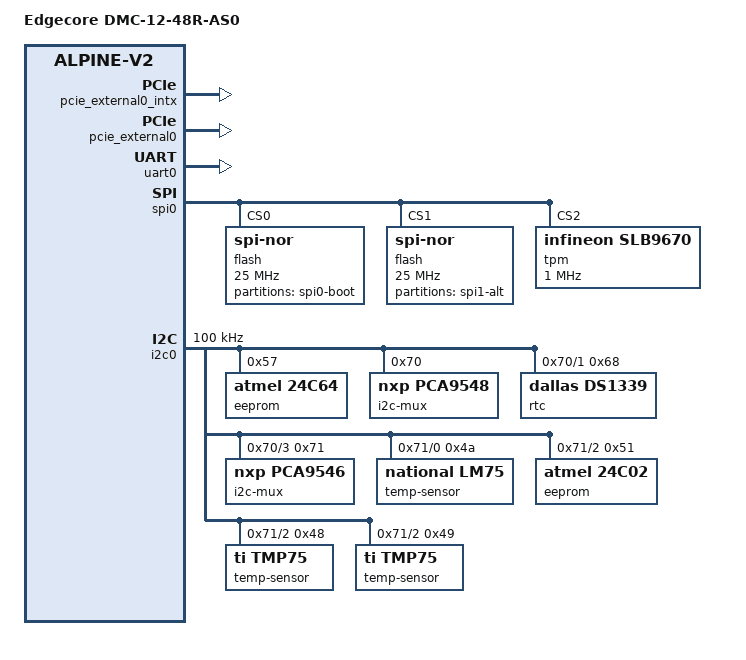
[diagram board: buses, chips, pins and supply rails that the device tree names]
// SPDX-License-Identifier: GPL-2.0
/*
 * Edgecore (Accton) DMC-12-48R-AS0: 48-port serial console server,
 * Annapurna Labs Alpine V2 K2C-AB (4x Cortex-A57).
 *
 * Starts from the first iteration (codeberg dma/dmc12-nixos 5d02d1b). Additions are
 * from the factory kernel's live DT and disassembly (unit u01, 2026-11-15;
 * see ai_re/devices/dmc-12-48r-as0/vendor-tooling.md):
 *   - sbclk is 500 MHz (mainline dtsi: 1 MHz placeholder). It feeds I2C, SPI,
 *     GPIO and the sp805; a wrong rate breaks SPI dividers and I2C timing.
 *   - The firmware's PSCI is v0.1 (cpu_on/cpu_off only, no SYSTEM_RESET).
 *   - PL061 GPIO 0..5, the sp805 watchdog (mainline restart handler), and
 *     the SPI NOR pair (CS0 booted, CS1 second image), read-only to Linux.
 *   - i2c aliases pin bus numbers to the factory kernel's (CPLD = i2c-4,
 *     sensors/EEPROM/INA219 = i2c-7, uplink PHY = i2c-8) so tools agree.
 */
/dts-v1/;

#include "alpine-v2.dtsi"

/ {
	model = "Edgecore DMC-12-48R-AS0";
	compatible = "edgecore,dmc-12-48r-as0", "al,alpine-v2";

	aliases {
		serial0 = &uart0;
		serial1 = &uart1;
		serial2 = &uart2;
		serial3 = &uart3;
		i2c0 = &i2c0;
		i2c1 = &mux70_0;
		i2c2 = &mux70_1;
		i2c3 = &mux70_2;
		i2c4 = &mux70_3;
		i2c5 = &mux71_0;
		i2c6 = &mux71_1;
		i2c7 = &mux71_2;
		i2c8 = &mux71_3;
		i2c9 = &mux70_4;
		i2c10 = &mux70_5;
		i2c11 = &mux70_6;
		i2c12 = &mux70_7;
	};

	chosen {
		stdout-path = "serial0:115200n8";
	};
};

&sbclk {
	clock-frequency = <500000000>;
};

/* Vendor firmware: PSCI v0.1 function IDs only. */
&{/psci} {
	compatible = "arm,psci";
	/delete-property/ cpu_suspend;
};

&uart0 { status = "okay"; };

&msix {
	interrupt-controller;
	#interrupt-cells = <1>;
};

/ {
	/*
	 * External PCIe port 0's app interrupt group A (x8 port = HAL rev 3: app regs at +0x2000,
	 * int_grp_a at +0x1000). INTx assert messages set cause bits 7..4 (INTA..INTD); the group
	 * raises GIC SPI 47 (as in the factory DT). Without it INTx never reached the CPU: USB ran
	 * on EHCI's 100 ms watchdog and sustained serial input overran the CP2108s.
	 * The Pericom functions can't do MSI (kernel quirk: not implemented).
	 */
	pcie_external0_intx: interrupt-controller@fd803000 {
		compatible = "amazon,al-fic";
		reg = <0x0 0xfd803000 0x0 0x40>;
		interrupt-controller;
		#interrupt-cells = <2>;
		#address-cells = <0>;
		interrupts = <GIC_SPI 47 IRQ_TYPE_LEVEL_HIGH>;
	};

	/* External PCIe port 0: Pericom 12d8:400c bridge -> OHCI/EHCI -> USB hubs -> 12x CP2108. */
	pcie_external0: pcie@fb600000 {
		compatible = "amazon,al-alpine-v2-pcie";
		device_type = "pci";
		#size-cells = <2>;
		#address-cells = <3>;
		#interrupt-cells = <1>;
		reg = <0x0 0xfb600000 0x0 0x00100000
		       0x0 0xfd800000 0x0 0x00010000
		       0x0 0xfd810000 0x0 0x00001000>;
		reg-names = "config", "controller", "dbi";
		bus-range = <0x00 0xff>;
		interrupts = <GIC_SPI 49 IRQ_TYPE_LEVEL_HIGH>;
		interrupt-map-mask = <0x00 0 0 7>;
		/* INTx are assert/deassert messages: rising edge of the assert cause bit. */
		interrupt-map = <0x0000 0 0 1 &pcie_external0_intx 7 IRQ_TYPE_EDGE_RISING>,
				<0x0000 0 0 2 &pcie_external0_intx 6 IRQ_TYPE_EDGE_RISING>,
				<0x0000 0 0 3 &pcie_external0_intx 5 IRQ_TYPE_EDGE_RISING>,
				<0x0000 0 0 4 &pcie_external0_intx 4 IRQ_TYPE_EDGE_RISING>;
		ranges = <0x02000000 0x0 0xc0010000 0x0 0xc0010000 0x0 0x07ff0000>;
		msi-parent = <&msix>;
	};
};

&{/soc/io-bus@fc000000} {
	/* Boot flash pair. Read-only to Linux: back up with dd, never write here. */
	spi0: spi@1882000 {
		compatible = "amazon,alpine-dw-apb-ssi", "snps,dw-apb-ssi";
		reg = <0x1882000 0x1000>;
		interrupts = <GIC_SPI 23 IRQ_TYPE_LEVEL_HIGH>;
		clocks = <&sbclk>;
		num-cs = <4>;
		#address-cells = <1>;
		#size-cells = <0>;

		flash@0 {
			compatible = "jedec,spi-nor";
			reg = <0>;
			spi-max-frequency = <25000000>;

			partitions {
				compatible = "fixed-partitions";
				#address-cells = <1>;
				#size-cells = <1>;
				partition@0 {
					label = "spi0-boot";
					reg = <0x0 0x1000000>;
					read-only;
				};
			};
		};

		flash@1 {
			compatible = "jedec,spi-nor";
			reg = <1>;
			spi-max-frequency = <25000000>;

			partitions {
				compatible = "fixed-partitions";
				#address-cells = <1>;
				#size-cells = <1>;
				partition@0 {
					label = "spi1-alt";
					reg = <0x0 0x1000000>;
					read-only;
				};
			};
		};

		/*
		 * The board's TPM 2.0: Infineon SLB9670 on SS2, as in the vendor DT (its U-Boot
		 * extends PCRs 0/1 through it). SS2 is muxed by stage3 and our U-Boot
		 * (if_spim_a_ss_2). Shares the bus with the boot flash: the CS override keeps
		 * CS0 deselected while CS2 talks. research-open-items.md 6.
		 */
		tpm@2 {
			compatible = "infineon,slb9670", "tcg,tpm_tis-spi";
			reg = <2>;
			spi-max-frequency = <1000000>;
		};
	};

	/* SoC watchdog. Mainline sp805 registers a restart handler. */
	watchdog@188c000 {
		compatible = "arm,sp805", "arm,primecell";
		reg = <0x188c000 0x1000>;
		interrupts = <GIC_SPI 13 IRQ_TYPE_LEVEL_HIGH>;
		clocks = <&sbclk>, <&sbclk>;
		clock-names = "wdog_clk", "apb_pclk";
	};

	gpio0: gpio@1887000 {
		compatible = "arm,pl061", "arm,primecell";
		reg = <0x1887000 0x1000>;
		interrupts = <GIC_SPI 2 IRQ_TYPE_LEVEL_HIGH>;
		clocks = <&sbclk>;
		clock-names = "apb_pclk";
		gpio-controller;
		#gpio-cells = <2>;
		interrupt-controller;
		#interrupt-cells = <2>;
	};

	gpio1: gpio@1888000 {
		compatible = "arm,pl061", "arm,primecell";
		reg = <0x1888000 0x1000>;
		interrupts = <GIC_SPI 3 IRQ_TYPE_LEVEL_HIGH>;
		clocks = <&sbclk>;
		clock-names = "apb_pclk";
		gpio-controller;
		#gpio-cells = <2>;
		interrupt-controller;
		#interrupt-cells = <2>;
	};

	gpio2: gpio@1889000 {
		compatible = "arm,pl061", "arm,primecell";
		reg = <0x1889000 0x1000>;
		interrupts = <GIC_SPI 4 IRQ_TYPE_LEVEL_HIGH>;
		clocks = <&sbclk>;
		clock-names = "apb_pclk";
		gpio-controller;
		#gpio-cells = <2>;
		interrupt-controller;
		#interrupt-cells = <2>;
		/* Line 6 = factory GPIO 494, toggled by cpldupd around CPLD JTAG updates. */
		gpio-line-names = "", "", "", "", "", "", "CPLD_JTAG_EN", "";
	};

	gpio3: gpio@188a000 {
		compatible = "arm,pl061", "arm,primecell";
		reg = <0x188a000 0x1000>;
		interrupts = <GIC_SPI 5 IRQ_TYPE_LEVEL_HIGH>;
		clocks = <&sbclk>;
		clock-names = "apb_pclk";
		gpio-controller;
		#gpio-cells = <2>;
		interrupt-controller;
		#interrupt-cells = <2>;
	};

	gpio4: gpio@188b000 {
		compatible = "arm,pl061", "arm,primecell";
		reg = <0x188b000 0x1000>;
		interrupts = <GIC_SPI 6 IRQ_TYPE_LEVEL_HIGH>;
		clocks = <&sbclk>;
		clock-names = "apb_pclk";
		gpio-controller;
		#gpio-cells = <2>;
		interrupt-controller;
		#interrupt-cells = <2>;
		/*
		 * Line 5 = SoC GPIO 37: doorbell of the K2 uC mailbox (0xfd8a4170). Toggling
		 * it sends the uC a command. Never claim or drive it from Linux
		 * (devices/dmc-12-48r-as0/uboot-vendor-commands.md).
		 */
		gpio-line-names = "", "", "", "", "", "UC_MAILBOX_DOORBELL_DO_NOT_USE", "", "";
	};

	gpio5: gpio@1897000 {
		compatible = "arm,pl061", "arm,primecell";
		reg = <0x1897000 0x1000>;
		interrupts = <GIC_SPI 7 IRQ_TYPE_LEVEL_HIGH>;
		clocks = <&sbclk>;
		clock-names = "apb_pclk";
		gpio-controller;
		#gpio-cells = <2>;
		interrupt-controller;
		#interrupt-cells = <2>;
		/* Line 1: CPLD interrupt, active low (factory interruptmon: gpiochip5 line 1). */
		gpio-line-names = "", "CPLD_INT_N", "", "", "", "", "", "";
	};

	i2c0: i2c@1880000 {
		compatible = "snps,designware-i2c";
		reg = <0x1880000 0x1000>;
		interrupts = <GIC_SPI 21 IRQ_TYPE_LEVEL_HIGH>;
		clocks = <&sbclk>;
		clock-frequency = <100000>;
		i2c-sda-hold-time-ns = <300>;
		#address-cells = <1>;
		#size-cells = <0>;

		/* SPD of the soldered DDR. */
		eeprom@57 {
			compatible = "atmel,24c64";
			reg = <0x57>;
			read-only;
		};

		i2c-mux@70 {
			compatible = "nxp,pca9548";
			reg = <0x70>;
			#address-cells = <1>;
			#size-cells = <0>;
			i2c-mux-idle-disconnect;

			mux70_0: i2c@0 { reg = <0>; #address-cells = <1>; #size-cells = <0>; };

			mux70_1: i2c@1 {
				reg = <1>;
				#address-cells = <1>;
				#size-cells = <0>;
				rtc@68 {
					compatible = "dallas,ds1339";
					reg = <0x68>;
					trickle-resistor-ohms = <2000>;
				};
			};

			mux70_2: i2c@2 {
				reg = <2>;
				#address-cells = <1>;
				#size-cells = <0>;
				/* No I2C TPM: nothing answers on this bus (the vendor DT's tpm@20 is a
				 * reference-design leftover); the TPM is on SPI SS2. */
			};

			/* i2c-4: board CPLD at 0x68, accessed raw from userspace (no driver). */
			mux70_3: i2c@3 {
				reg = <3>;
				#address-cells = <1>;
				#size-cells = <0>;

				i2c-mux@71 {
					compatible = "nxp,pca9546";
					reg = <0x71>;
					#address-cells = <1>;
					#size-cells = <0>;
					/*
					 * Factory tools wrote this mux's control register by hand; with
					 * idle-disconnect the kernel reselects on every transfer, so a
					 * stray manual write can't leave it on the wrong channel.
					 */
					i2c-mux-idle-disconnect;

					mux71_0: i2c@0 {
						reg = <0>;
						#address-cells = <1>;
						#size-cells = <0>;
						/* On the K2 SoC card's microcontroller. */
						temp-sensor@4a {
							compatible = "national,lm75";
							reg = <0x4a>;
						};
					};

					mux71_1: i2c@1 { reg = <1>; #address-cells = <1>; #size-cells = <0>; };

					/* i2c-7: board EEPROM, TMP75 x2, INA219 at 0x44 (raw, `show power`). */
					mux71_2: i2c@2 {
						reg = <2>;
						#address-cells = <1>;
						#size-cells = <0>;
						eeprom@51 {
							compatible = "atmel,24c02";
							reg = <0x51>;
							read-only;
						};
						temp-sensor@48 {
							compatible = "ti,tmp75";
							reg = <0x48>;
						};
						temp-sensor@49 {
							compatible = "ti,tmp75";
							reg = <0x49>;
						};
					};

					/* i2c-8: uplink "upper" PHY at 0x40 (setphyspeed). */
					mux71_3: i2c@3 { reg = <3>; #address-cells = <1>; #size-cells = <0>; };
				};
			};

			mux70_4: i2c@4 { reg = <4>; #address-cells = <1>; #size-cells = <0>; };
			mux70_5: i2c@5 { reg = <5>; #address-cells = <1>; #size-cells = <0>; };
			mux70_6: i2c@6 { reg = <6>; #address-cells = <1>; #size-cells = <0>; };
			mux70_7: i2c@7 { reg = <7>; #address-cells = <1>; #size-cells = <0>; };
		};
	};
};
